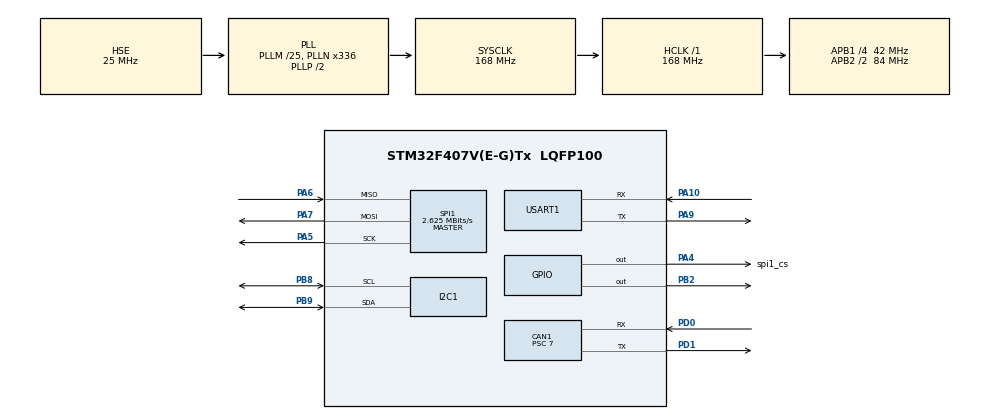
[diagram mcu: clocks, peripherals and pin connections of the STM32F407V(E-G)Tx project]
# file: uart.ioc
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CAN1.ABOM=ENABLE
CAN1.BS1=CAN_BS1_4TQ
CAN1.CalculateBaudRate=999999
CAN1.CalculateTimeBit=1000
CAN1.CalculateTimeQuantum=166.66666666666669
CAN1.Prescaler=7
Dma.I2C1_TX.0.Direction=DMA_MEMORY_TO_PERIPH
Dma.I2C1_TX.0.FIFOMode=DMA_FIFOMODE_DISABLE
Dma.I2C1_TX.0.Instance=DMA1_Stream7
Dma.I2C1_TX.0.MemDataAlignment=DMA_MDATAALIGN_BYTE
Dma.I2C1_TX.0.MemInc=DMA_MINC_ENABLE
Dma.I2C1_TX.0.Mode=DMA_NORMAL
Dma.I2C1_TX.0.PeriphDataAlignment=DMA_PDATAALIGN_BYTE
Dma.I2C1_TX.0.PeriphInc=DMA_PINC_DISABLE
Dma.I2C1_TX.0.Priority=DMA_PRIORITY_LOW
Dma.Request0=I2C1_TX
Dma.Request1=USART1_RX
Dma.USART1_RX.1.Direction=DMA_PERIPH_TO_MEMORY
Dma.USART1_RX.1.FIFOMode=DMA_FIFOMODE_DISABLE
Dma.USART1_RX.1.Instance=DMA2_Stream2
Dma.USART1_RX.1.MemDataAlignment=DMA_MDATAALIGN_BYTE
Dma.USART1_RX.1.MemInc=DMA_MINC_ENABLE
Dma.USART1_RX.1.Mode=DMA_NORMAL
Dma.USART1_RX.1.PeriphDataAlignment=DMA_PDATAALIGN_BYTE
Dma.USART1_RX.1.PeriphInc=DMA_PINC_DISABLE
Dma.USART1_RX.1.Priority=DMA_PRIORITY_LOW
FREERTOS.Tasks01=defaultTask,24,128,StartDefaultTask,Default,NULL,Dynamic,NULL,NULL
Mcu.Family=STM32F4
Mcu.Name=STM32F407V(E-G)Tx
Mcu.Package=LQFP100
NVIC.CAN1_RX0_IRQn=true\:5\:0\:false\:false\:true\:true\:true\:true\:true
NVIC.DMA1_Stream7_IRQn=true\:5\:0\:false\:false\:true\:true\:false\:true\:true
NVIC.DMA2_Stream2_IRQn=true\:5\:0\:false\:false\:true\:true\:false\:true\:true
NVIC.PriorityGroup=NVIC_PRIORITYGROUP_4
NVIC.TIM4_IRQn=true\:15\:0\:false\:false\:true\:false\:false\:true\:true
NVIC.TimeBase=TIM4_IRQn
NVIC.TimeBaseIP=TIM4
PA10.Mode=Asynchronous
PA10.Signal=USART1_RX
PA13.Mode=Serial_Wire
PA13.Signal=SYS_JTMS-SWDIO
PA14.Mode=Serial_Wire
PA14.Signal=SYS_JTCK-SWCLK
PA4.GPIO_Label=spi1_cs
PA4.PinState=GPIO_PIN_SET
PA4.Signal=GPIO_Output
PA5.Mode=Full_Duplex_Master
PA5.Signal=SPI1_SCK
PA6.Mode=Full_Duplex_Master
PA6.Signal=SPI1_MISO
PA7.Mode=Full_Duplex_Master
PA7.Signal=SPI1_MOSI
PA9.Mode=Asynchronous
PA9.Signal=USART1_TX
PB2.Signal=GPIO_Output
PB8.Mode=I2C
PB8.Signal=I2C1_SCL
PB9.Mode=I2C
PB9.Signal=I2C1_SDA
PC14-OSC32_IN.Mode=LSE-External-Oscillator
PC14-OSC32_IN.Signal=RCC_OSC32_IN
PC15-OSC32_OUT.Mode=LSE-External-Oscillator
PC15-OSC32_OUT.Signal=RCC_OSC32_OUT
PD0.Mode=CAN_Activate
PD0.Signal=CAN1_RX
PD1.Mode=CAN_Activate
PD1.Signal=CAN1_TX
PH0-OSC_IN.Mode=HSE-External-Oscillator
PH0-OSC_IN.Signal=RCC_OSC_IN
PH1-OSC_OUT.Mode=HSE-External-Oscillator
PH1-OSC_OUT.Signal=RCC_OSC_OUT
ProjectManager.HeapSize=0x200
ProjectManager.StackSize=0x400
ProjectManager.TargetToolchain=CMake
RCC.48MHZClocksFreq_Value=84000000
RCC.AHBFreq_Value=168000000
RCC.APB1CLKDivider=RCC_HCLK_DIV4
RCC.APB1Freq_Value=42000000
RCC.APB1TimFreq_Value=84000000
RCC.APB2CLKDivider=RCC_HCLK_DIV2
RCC.APB2Freq_Value=84000000
RCC.APB2TimFreq_Value=168000000
RCC.CortexFreq_Value=168000000
RCC.HCLKFreq_Value=168000000
RCC.HSE_VALUE=25000000
RCC.HSI_VALUE=16000000
RCC.PLLM=25
RCC.PLLN=336
RCC.PLLSourceVirtual=RCC_PLLSOURCE_HSE
RCC.SYSCLKFreq_VALUE=168000000
RCC.SYSCLKSource=RCC_SYSCLKSOURCE_PLLCLK
RCC.VCOOutputFreq_Value=336000000
SPI1.BaudRatePrescaler=SPI_BAUDRATEPRESCALER_32
SPI1.CalculateBaudRate=2.625 MBits/s
SPI1.Direction=SPI_DIRECTION_2LINES
SPI1.Mode=SPI_MODE_MASTER
SPI1.VirtualType=VM_MASTER
USART1.VirtualMode=VM_ASYNC
VP_FREERTOS_VS_CMSIS_V2.Mode=CMSIS_V2
VP_SYS_VS_tim4.Mode=TIM4
board=custom

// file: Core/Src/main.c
/* USER CODE BEGIN Header */
/**
 ******************************************************************************
 * @file           : main.c
 * @brief          : Main program body
 ******************************************************************************
 * @attention
 *
 * Copyright (c) 2026 STMicroelectronics.
 * All rights reserved.
 *
 * This software is licensed under terms that can be found in the LICENSE file
 * in the root directory of this software component.
 * If no LICENSE file comes with this software, it is provided AS-IS.
 *
 ******************************************************************************
 */
/* USER CODE END Header */
#include "main.h"
#include "cmsis_os.h"
#include "can.h"
#include "dma.h"
#include "i2c.h"
#include "spi.h"
#include "usart.h"
#include "gpio.h"

/* USER CODE BEGIN Includes */
#include "Chassis.h"
#include "app_init.h"
#include "bsp_can.h"
#include "bsp_uart.h"
#include <stdbool.h>
#include <stdio.h>
#include <string.h>

/* USER CODE END Includes */

/* USER CODE BEGIN PV */
UART_Instance *uart1;   // 串口实例
CAN_Instance *can_inst; // CAN 实例(Emm_V5 模块要用)

/* USER CODE END PV */

void SystemClock_Config(void);
void MX_FREERTOS_Init(void);

/* USER CODE BEGIN 0 */

/* 串口的接收回调 */
void UART_RxHandler(UART_Instance *uart, uint16_t size) {
  UART_Transmit(uart, uart->rx_buffer, size); // 把收到的发回去
}

/* 串口的注册 */
void UART_Setup(void) {
  UART_Init_Config_s uart_conf = {
      .handle = &huart1,             // 用 USART1
      .rx_callback = UART_RxHandler, // 接收回调函数
      .id = NULL,
  };
  uart1 = UART_Register(&uart_conf); // 注册(内部会注册 DMA 实例)
  UART_Receive(uart1);               // 启动接收
}

/* USER CODE END 0 */

int main(void)
{

  /* MCU Configuration--------------------------------------------------------*/

  /* Reset of all peripherals, Initializes the Flash interface and the Systick. */
  HAL_Init();

  /* Configure the system clock */
  SystemClock_Config();

  /* Initialize all configured peripherals */
  MX_GPIO_Init();
  MX_DMA_Init();
  MX_I2C1_Init();
  MX_CAN1_Init();
  MX_USART1_UART_Init();
  MX_SPI1_Init();
  /* USER CODE BEGIN 2 */
  /* 无复位引脚的 OLED 先等上电稳定,再交给 APP 层注册和初始化。
   * App_Init() 失败只置状态位、不阻塞启动,CAN/UART 仍要工作;
   * 用调试器读 App_Get_Status() 可以看失败在哪一步。 */
  HAL_Delay(200);
  App_Init();   // OLED APP:注册 -> 初始化 -> 显示首帧
  UART_Setup(); // UART 注册(标定期用串口输出位置)
  // Emm_V5_Init(can_inst); // 把 CAN 实例交给电机模块

  // Chassis_Init();

  /* USER CODE END 2 */

  /* Init scheduler */
  osKernelInitialize();  /* Call init function for freertos objects (in cmsis_os2.c) */
  MX_FREERTOS_Init();

  /* Start scheduler */
  osKernelStart();

  /* We should never get here as control is now taken by the scheduler */

  /* Infinite loop */
  while (1) {

  }
}

void SystemClock_Config(void)
{
  RCC_OscInitTypeDef RCC_OscInitStruct = {0};
  RCC_ClkInitTypeDef RCC_ClkInitStruct = {0};

  /** Configure the main internal regulator output voltage
  */
  __HAL_RCC_PWR_CLK_ENABLE();
  __HAL_PWR_VOLTAGESCALING_CONFIG(PWR_REGULATOR_VOLTAGE_SCALE1);

  /** Initializes the RCC Oscillators according to the specified parameters
  * in the RCC_OscInitTypeDef structure.
  */
  RCC_OscInitStruct.OscillatorType = RCC_OSCILLATORTYPE_HSE;
  RCC_OscInitStruct.HSEState = RCC_HSE_ON;
  RCC_OscInitStruct.PLL.PLLState = RCC_PLL_ON;
  RCC_OscInitStruct.PLL.PLLSource = RCC_PLLSOURCE_HSE;
  RCC_OscInitStruct.PLL.PLLM = 25;
  RCC_OscInitStruct.PLL.PLLN = 336;
  RCC_OscInitStruct.PLL.PLLP = RCC_PLLP_DIV2;
  RCC_OscInitStruct.PLL.PLLQ = 4;
  if (HAL_RCC_OscConfig(&RCC_OscInitStruct) != HAL_OK)
  {
    Error_Handler();
  }

  /** Initializes the CPU, AHB and APB buses clocks
  */
  RCC_ClkInitStruct.ClockType = RCC_CLOCKTYPE_HCLK|RCC_CLOCKTYPE_SYSCLK
                              |RCC_CLOCKTYPE_PCLK1|RCC_CLOCKTYPE_PCLK2;
  RCC_ClkInitStruct.SYSCLKSource = RCC_SYSCLKSOURCE_PLLCLK;
  RCC_ClkInitStruct.AHBCLKDivider = RCC_SYSCLK_DIV1;
  RCC_ClkInitStruct.APB1CLKDivider = RCC_HCLK_DIV4;
  RCC_ClkInitStruct.APB2CLKDivider = RCC_HCLK_DIV2;

  if (HAL_RCC_ClockConfig(&RCC_ClkInitStruct, FLASH_LATENCY_5) != HAL_OK)
  {
    Error_Handler();
  }
}

void HAL_TIM_PeriodElapsedCallback(TIM_HandleTypeDef *htim)
{
  if (htim->Instance == TIM4)
  {
    HAL_IncTick();
  }
}

void Error_Handler(void)
{
  __disable_irq();
  while (1) {
  }
}
#ifdef USE_FULL_ASSERT
/**
  * @brief  Reports the name of the source file and the source line number
  *         where the assert_param error has occurred.
  * @param  file: pointer to the source file name
  * @param  line: assert_param error line source number
  * @retval None
  */
void assert_failed(uint8_t *file, uint32_t line)
{
  /* USER CODE BEGIN 6 */
  /* User can add his own implementation to report the file name and line
     number, ex: printf("Wrong parameters value: file %s on line %d\r\n", file,
     line) */
  /* USER CODE END 6 */
}
#endif /* USE_FULL_ASSERT */

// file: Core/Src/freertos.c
/* USER CODE BEGIN Header */
/**
  ******************************************************************************
  * File Name          : freertos.c
  * Description        : Code for freertos applications
  ******************************************************************************
  * @attention
  *
  * Copyright (c) 2026 STMicroelectronics.
  * All rights reserved.
  *
  * This software is licensed under terms that can be found in the LICENSE file
  * in the root directory of this software component.
  * If no LICENSE file comes with this software, it is provided AS-IS.
  *
  ******************************************************************************
  */
/* USER CODE END Header */

#include "FreeRTOS.h"
#include "task.h"
#include "main.h"
#include "cmsis_os.h"

/* USER CODE BEGIN Includes */
#include "app_init.h"
/* USER CODE END Includes */

/* Definitions for defaultTask */
osThreadId_t defaultTaskHandle;
const osThreadAttr_t defaultTask_attributes = {
  .name = "defaultTask",
  .stack_size = 128 * 4,
  .priority = (osPriority_t) osPriorityNormal,
};

void StartDefaultTask(void *argument);

void MX_FREERTOS_Init(void); /* (MISRA C 2004 rule 8.1) */

void MX_FREERTOS_Init(void) {

  /* Create the thread(s) */
  /* creation of defaultTask */
  defaultTaskHandle = osThreadNew(StartDefaultTask, NULL, &defaultTask_attributes);

}

void StartDefaultTask(void *argument)
{
  /* USER CODE BEGIN StartDefaultTask */
  /* Infinite loop */
  for(;;)
  {
    /* App_Run 内部按 500 ms 节流,OLED 全屏刷新是阻塞的,放在这里的低优先级任务中。 */
    App_Run(HAL_GetTick());
    osDelay(1);
  }
  /* USER CODE END StartDefaultTask */
}
